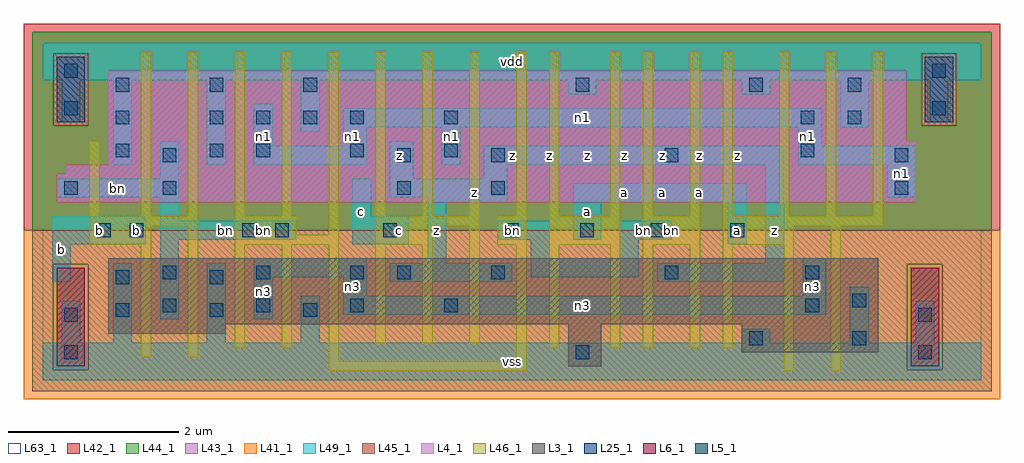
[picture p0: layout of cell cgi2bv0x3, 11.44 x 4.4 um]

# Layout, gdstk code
import gdstk
lib = gdstk.Library(unit=1e-6, precision=1e-09)
def R(c, l, rs):  # rectangles x0, y0, x1, y1
    for r in rs: c.add(gdstk.rectangle(r[:2], r[2:], *l))
def A(c, l, x, y, w, h, nx, ny, dx, dy):  # array of equal rectangles
    R(c, l, [(x+i*dx, y+j*dy, x+i*dx+w, y+j*dy+h) for i in range(nx) for j in range(ny)])
L3_1 = (3, 1)
L4_1 = (4, 1)
L5_1 = (5, 1)
L6_1 = (6, 1)
L25_1 = (25, 1)
L41_1 = (41, 1)
L42_1 = (42, 1)
L43_1 = (43, 1)
L44_1 = (44, 1)
L45_1 = (45, 1)
L46_1 = (46, 1)
L49_1 = (49, 1)
L63_1 = (63, 1)

cgi2bv0x3 = lib.new_cell('cgi2bv0x3')
R(cgi2bv0x3, L3_1, [(6.16,0.165,6.545,0.66), (8.195,0.33,9.79,0.66), (0.77,0.55,2.145,0.66), (0.77,0.66,9.79,1.43)])
R(cgi2bv0x3, L4_1, [(0.165,2.09,10.23,2.42), (0.275,2.42,10.23,2.53), (0.77,2.53,10.23,2.805), (0.77,2.805,10.12,3.63)])
R(cgi2bv0x3, L5_1, [(0.165,3.025,0.495,3.795), (10.34,3.025,10.67,3.795)])
R(cgi2bv0x3, L6_1, [(0.165,0.165,0.495,1.32), (10.175,0.165,10.505,1.32)])
A(cgi2bv0x3, L25_1, 0.855, 0.745, 0.16, 0.16, 3, 2, 1.1, 2.64)
A(cgi2bv0x3, L25_1, 1.405, 0.8, 0.16, 0.16, 4, 1, 1.1, 0)
A(cgi2bv0x3, L25_1, 1.405, 1.185, 0.16, 0.16, 3, 1, 1.1, 0)
A(cgi2bv0x3, L25_1, 2.505, 2.615, 0.16, 0.16, 3, 1, 1.1, 0)
A(cgi2bv0x3, L25_1, 1.955, 3, 0.16, 0.16, 4, 1, 0.55, 0)
R(cgi2bv0x3, L25_1, [(0.25,0.25,0.41,0.41), (6.245,0.25,6.405,0.41), (10.26,0.25,10.42,0.41), (8.28,0.415,8.44,0.575), (9.49,0.415,9.65,0.575), (0.25,0.69,0.41,0.85), (10.26,0.69,10.42,0.85), (8.94,0.8,9.1,0.96), (9.49,0.855,9.65,1.015), (0.855,1.13,1.015,1.29), (1.955,1.13,2.115,1.29), (4.155,1.185,4.315,1.345), (5.255,1.185,5.415,1.345), (7.29,1.185,7.45,1.345), (8.94,1.185,9.1,1.345), (0.635,1.68,0.795,1.84), (1.02,1.68,1.18,1.84), (2.34,1.68,2.5,1.84), (2.725,1.68,2.885,1.84), (3.99,1.68,4.15,1.84), (5.42,1.68,5.58,1.84), (6.3,1.68,6.46,1.84), (7.125,1.68,7.285,1.84), (8.06,1.68,8.22,1.84), (0.25,2.175,0.41,2.335), (1.405,2.175,1.565,2.335), (4.155,2.175,4.315,2.335), (5.255,2.175,5.415,2.335), (9.985,2.175,10.145,2.335), (1.405,2.56,1.565,2.72), (4.155,2.56,4.315,2.72), (5.255,2.56,5.415,2.72), (7.29,2.56,7.45,2.72), (9.985,2.56,10.145,2.72), (0.855,2.615,1.015,2.775), (1.955,2.615,2.115,2.775), (8.885,2.615,9.045,2.775), (0.855,3,1.015,3.16), (4.705,3,4.865,3.16), (8.885,3,9.045,3.16), (9.435,3,9.595,3.16), (0.25,3.11,0.41,3.27), (10.425,3.11,10.585,3.27), (6.245,3.385,6.405,3.545), (8.28,3.385,8.44,3.545), (9.435,3.385,9.595,3.545), (0.25,3.55,0.41,3.71), (10.425,3.55,10.585,3.71)])
R(cgi2bv0x3, L41_1, [(-0.22,-0.22,11.22,1.76)])
R(cgi2bv0x3, L42_1, [(-0.22,1.76,11.22,4.18)])
R(cgi2bv0x3, L43_1, [(0.165,0.165,0.495,1.32), (6.16,0.165,6.545,0.66), (10.175,0.165,10.505,1.32), (8.195,0.33,9.79,0.66), (0.77,0.55,2.145,0.66), (0.77,0.66,9.79,1.43), (0.165,2.09,10.23,2.42), (0.275,2.42,10.23,2.53), (0.77,2.53,10.23,2.805), (0.77,2.805,10.12,3.63), (0.165,3.025,0.495,3.795), (10.34,3.025,10.67,3.795)])
R(cgi2bv0x3, L44_1, [(0.125,0.125,0.535,1.36), (10.135,0.125,10.545,1.36), (-0.125,1.76,11.125,2.985), (-0.125,2.985,0.125,3.835), (0.535,2.985,10.3,3.835), (10.71,2.985,11.125,3.835), (-0.125,3.835,11.125,4.085)])
R(cgi2bv0x3, L45_1, [(-0.125,-0.125,11.125,0.125), (-0.125,0.125,0.125,1.36), (0.535,0.125,10.135,1.36), (10.545,0.125,11.125,1.36), (-0.125,1.36,11.125,1.76), (0.125,2.985,0.535,3.835), (10.3,2.985,10.71,3.835)])
A(cgi2bv0x3, L46_1, 1.15, 1.93, 0.12, 1.925, 4, 1, 0.55, 0)
A(cgi2bv0x3, L46_1, 3.9, 1.93, 0.12, 1.925, 4, 1, 0.55, 0)
A(cgi2bv0x3, L46_1, 8.63, 1.93, 0.12, 1.925, 3, 1, 0.55, 0)
R(cgi2bv0x3, L46_1, [(3.35,0.105,5.67,0.225), (8.685,0.105,8.805,1.59), (9.235,0.105,9.355,1.81), (3.35,0.225,3.47,1.59), (5.55,0.225,5.67,1.59), (1.15,0.27,1.27,1.59), (1.7,0.27,1.82,1.81), (2.25,0.38,2.37,1.59), (2.8,0.38,2.92,1.59), (5.935,0.38,6.055,1.59), (6.65,0.38,6.77,1.59), (7.035,0.38,7.155,1.59), (7.585,0.38,7.705,1.59), (7.97,0.38,8.09,1.59), (3.9,0.435,4.02,1.59), (4.45,0.435,4.57,1.59), (5,0.435,5.12,1.81), (0.545,1.59,1.27,1.81), (2.25,1.59,3.47,1.71), (3.9,1.59,4.57,1.81), (5.33,1.59,5.67,1.93), (5.935,1.59,6.77,1.93), (7.035,1.59,7.705,1.93), (7.97,1.59,8.805,1.81), (2.25,1.71,2.975,1.93), (3.35,1.71,3.47,3.855), (0.545,1.81,1.82,1.93), (3.9,1.81,5.12,1.93), (7.97,1.81,9.85,1.93), (0.545,1.93,0.665,2.81), (5.935,1.93,6.055,3.855), (6.65,1.93,6.77,3.855), (7.035,1.93,7.155,3.855), (7.585,1.93,7.705,3.855), (7.97,1.93,8.09,3.855)])
R(cgi2bv0x3, L49_1, [(0,0,11,0.44), (0.22,0.44,0.44,0.935), (0.825,0.44,1.045,1.375), (1.925,0.44,2.145,1.375), (3.025,0.44,3.245,0.99), (8.195,0.44,8.525,0.605), (9.46,0.44,9.68,1.1), (10.23,0.44,10.45,0.935), (1.375,0.715,1.595,1.65), (2.475,0.715,2.695,1.21), (3.52,0.77,9.185,0.99), (3.52,0.99,3.795,1.21), (8.91,0.99,9.185,1.43), (0.11,1.155,0.33,1.595), (4.07,1.155,5.5,1.375), (7.205,1.155,8.69,1.375), (2.475,1.21,3.795,1.43), (5.72,1.21,6.985,1.43), (4.51,1.375,4.73,2.09), (8.47,1.375,8.69,2.53), (5.72,1.43,5.94,1.65), (6.765,1.43,6.985,1.65), (0.11,1.595,1.21,1.925), (3.63,1.595,4.29,1.925), (8.03,1.595,8.25,2.09), (1.375,1.65,2.97,1.87), (5.335,1.65,5.94,1.87), (6.215,1.65,6.545,2.09), (6.765,1.65,7.37,1.87), (1.375,1.87,1.595,2.145), (3.63,1.925,3.85,2.365), (4.51,2.09,5.445,2.145), (6.215,2.09,8.25,2.31), (0.165,2.145,1.595,2.365), (4.07,2.145,5.445,2.365), (9.9,2.145,10.23,2.53), (1.375,2.365,1.595,2.805), (4.07,2.365,4.345,2.805), (5.17,2.365,5.445,2.53), (0.825,2.53,1.045,3.52), (1.925,2.53,2.145,3.52), (2.475,2.53,3.795,2.75), (4.675,2.53,4.895,2.97), (5.17,2.53,8.69,2.75), (8.855,2.53,10.23,2.75), (2.475,2.75,2.695,3.245), (3.52,2.75,3.795,2.97), (8.855,2.75,9.13,2.97), (3.025,2.915,3.245,3.52), (3.52,2.97,9.13,3.19), (9.35,2.97,9.68,3.52), (0.22,3.025,0.44,3.52), (10.395,3.025,10.615,3.52), (6.16,3.355,6.49,3.52), (8.195,3.355,8.525,3.52), (0,3.52,11,3.96)])
R(cgi2bv0x3, L63_1, [(0,0,11,3.96)])
cgi2bv0x3.add(gdstk.Label('bn', (2.585,1.76), layer=46, texttype=1))
cgi2bv0x3.add(gdstk.Label('bn', (5.5,1.76), layer=49, texttype=1))
cgi2bv0x3.add(gdstk.Label('bn', (7.37,1.76), layer=46, texttype=1))
cgi2bv0x3.add(gdstk.Label('b', (1.1,1.76), layer=49, texttype=1))
cgi2bv0x3.add(gdstk.Label('b', (0.66,1.76), layer=49, texttype=1))
cgi2bv0x3.add(gdstk.Label('b', (0.22,1.54), layer=49, texttype=1))
cgi2bv0x3.add(gdstk.Label('bn', (0.88,2.255), layer=49, texttype=1))
cgi2bv0x3.add(gdstk.Label('n3', (2.585,1.045), layer=49, texttype=1))
cgi2bv0x3.add(gdstk.Label('n3', (3.63,1.1), layer=49, texttype=1))
cgi2bv0x3.add(gdstk.Label('c', (4.18,1.76), layer=49, texttype=1))
cgi2bv0x3.add(gdstk.Label('bn', (2.145,1.76), layer=49, texttype=1))
cgi2bv0x3.add(gdstk.Label('c', (3.74,1.98), layer=49, texttype=1))
cgi2bv0x3.add(gdstk.Label('z', (4.18,2.64), layer=49, texttype=1))
cgi2bv0x3.add(gdstk.Label('n1', (3.63,2.86), layer=49, texttype=1))
cgi2bv0x3.add(gdstk.Label('n1', (2.585,2.86), layer=49, texttype=1))
cgi2bv0x3.add(gdstk.Label('vss', (5.5,0.22), layer=49, texttype=1))
cgi2bv0x3.add(gdstk.Label('z', (4.62,1.76), layer=49, texttype=1))
cgi2bv0x3.add(gdstk.Label('bn', (5.61,1.76), layer=49, texttype=1))
cgi2bv0x3.add(gdstk.Label('z', (5.06,2.2), layer=49, texttype=1))
cgi2bv0x3.add(gdstk.Label('a', (6.38,1.98), layer=49, texttype=1))
cgi2bv0x3.add(gdstk.Label('z', (5.94,2.64), layer=49, texttype=1))
cgi2bv0x3.add(gdstk.Label('z', (5.5,2.64), layer=49, texttype=1))
cgi2bv0x3.add(gdstk.Label('z', (6.38,2.64), layer=49, texttype=1))
cgi2bv0x3.add(gdstk.Label('n1', (4.785,2.86), layer=49, texttype=1))
cgi2bv0x3.add(gdstk.Label('vdd', (5.5,3.74), layer=49, texttype=1))
cgi2bv0x3.add(gdstk.Label('z', (8.58,1.76), layer=49, texttype=1))
cgi2bv0x3.add(gdstk.Label('a', (8.14,1.76), layer=49, texttype=1))
cgi2bv0x3.add(gdstk.Label('bn', (7.04,1.76), layer=49, texttype=1))
cgi2bv0x3.add(gdstk.Label('a', (6.82,2.2), layer=49, texttype=1))
cgi2bv0x3.add(gdstk.Label('a', (7.7,2.2), layer=49, texttype=1))
cgi2bv0x3.add(gdstk.Label('a', (7.26,2.2), layer=49, texttype=1))
cgi2bv0x3.add(gdstk.Label('z', (6.82,2.64), layer=49, texttype=1))
cgi2bv0x3.add(gdstk.Label('z', (7.26,2.64), layer=49, texttype=1))
cgi2bv0x3.add(gdstk.Label('z', (8.14,2.64), layer=49, texttype=1))
cgi2bv0x3.add(gdstk.Label('z', (7.7,2.64), layer=49, texttype=1))
cgi2bv0x3.add(gdstk.Label('n3', (9.02,1.1), layer=49, texttype=1))
cgi2bv0x3.add(gdstk.Label('n3', (6.325,0.88), layer=49, texttype=1))
cgi2bv0x3.add(gdstk.Label('n1', (10.065,2.42), layer=49, texttype=1))
cgi2bv0x3.add(gdstk.Label('n1', (8.965,2.86), layer=49, texttype=1))
cgi2bv0x3.add(gdstk.Label('n1', (6.325,3.08), layer=49, texttype=1))

lib.write_gds('cgi2bv0x3.gds')
